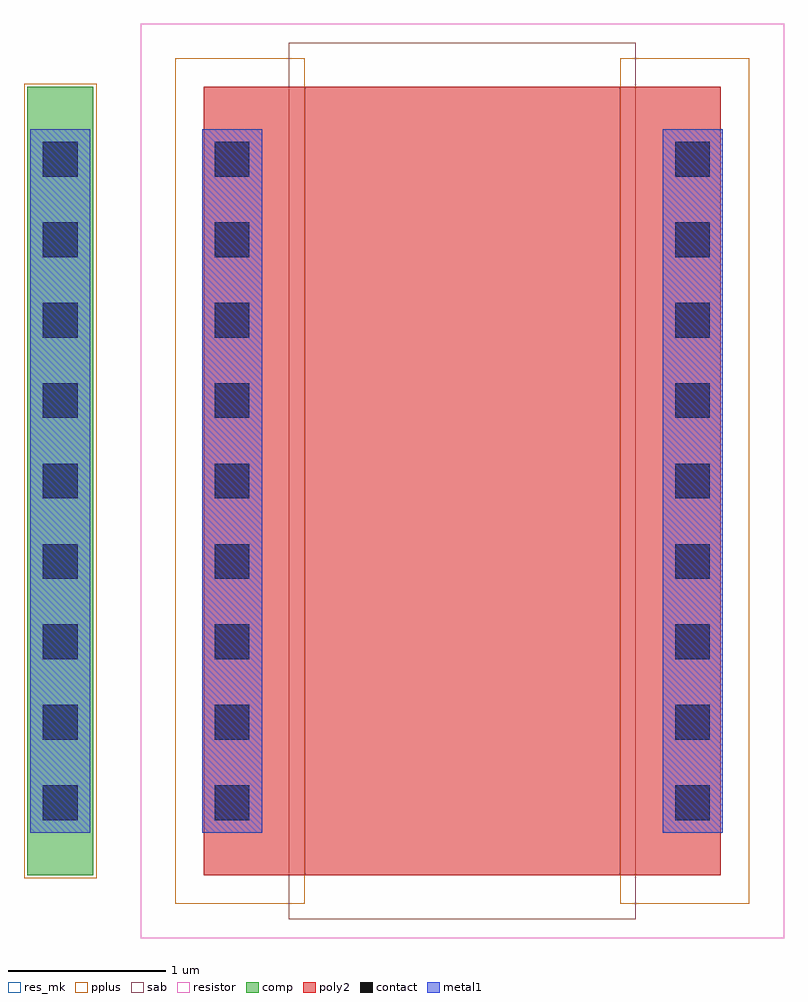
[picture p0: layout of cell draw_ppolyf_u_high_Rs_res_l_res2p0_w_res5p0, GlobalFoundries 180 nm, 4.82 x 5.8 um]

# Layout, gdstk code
import gdstk
lib = gdstk.Library(unit=1e-6, precision=1e-09)
def R(c, l, rs):  # rectangles x0, y0, x1, y1
    for r in rs: c.add(gdstk.rectangle(r[:2], r[2:], *l))
def A(c, l, x, y, w, h, nx, ny, dx, dy):  # array of equal rectangles
    R(c, l, [(x+i*dx, y+j*dy, x+i*dx+w, y+j*dy+h) for i in range(nx) for j in range(ny)])
comp = (22, 0)
poly2 = (30, 0)
pplus = (31, 0)
contact = (33, 0)
metal1 = (34, 0)
sab = (49, 0)
resistor = (62, 0)
res_mk = (110, 5)

draw_ppolyf_u_high_rs_re = lib.new_cell('draw_ppolyf_u_high_Rs_res_l_res2p0_w_res5p0')
R(draw_ppolyf_u_high_rs_re, comp, [(-1.76,0,-1.34,5)])
R(draw_ppolyf_u_high_rs_re, poly2, [(-0.64,0,2.64,5)])
R(draw_ppolyf_u_high_rs_re, pplus, [(-0.82,-0.18,0,5.18), (2,-0.18,2.82,5.18), (-1.78,-0.02,-1.32,5.02)])
A(draw_ppolyf_u_high_rs_re, contact, -1.66, 0.35, 0.22, 0.22, 1, 9, 0, 0.51)
A(draw_ppolyf_u_high_rs_re, contact, -0.57, 0.35, 0.22, 0.22, 1, 9, 0, 0.51)
A(draw_ppolyf_u_high_rs_re, contact, 2.35, 0.35, 0.22, 0.22, 1, 9, 0, 0.51)
R(draw_ppolyf_u_high_rs_re, metal1, [(-1.74,0.27,-1.36,4.73), (-0.65,0.27,-0.27,4.73), (2.27,0.27,2.65,4.73)])
R(draw_ppolyf_u_high_rs_re, sab, [(-0.1,-0.28,2.1,5.28)])
R(draw_ppolyf_u_high_rs_re, resistor, [(-1.04,-0.4,3.04,5.4)])
R(draw_ppolyf_u_high_rs_re, res_mk, [(0,0,2,5)])

lib.write_gds('draw_ppolyf_u_high_Rs_res_l_res2p0_w_res5p0.gds')
